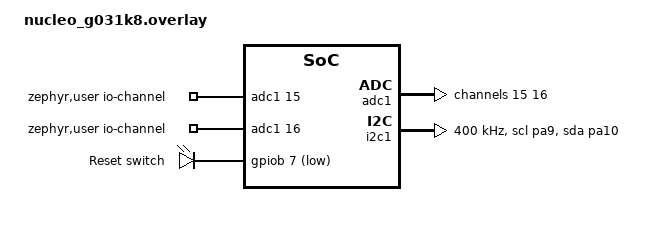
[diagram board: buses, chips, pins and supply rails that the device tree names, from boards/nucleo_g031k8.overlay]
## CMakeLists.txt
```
# SPDX-License-Identifier: Apache-2.0

cmake_minimum_required(VERSION 3.20.0)

find_package(Zephyr REQUIRED HINTS $ENV{ZEPHYR_BASE})
project(i2c_custom_target)

set (APP_SOURCES
   src/adc/adc.c
   src/gpio/gpio.c
   src/i2c_slave/i2c_slave.c
)

target_sources(app PRIVATE
   ${APP_SOURCES}
   src/main.c
)

target_include_directories(app PRIVATE
   src/adc/
   src/gpio/
   src/i2c_slave/
)
```

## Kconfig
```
#  Copyright (c) 2024 Muhammad Waleed Badar
#  SPDX-License-Identifier: Apache-2.0

mainmenu "I2C Slave Device"

menu "I2C Slave Device"

config I2C_SLAVE_ADDR
	int "Configure I2C slave address"
	default 8

config ADC_CH0_ADDR
	int "Configure ADC channel 0 address"
	default 0

config ADC_CH1_ADDR
	int "Configure ADC channel 1 address"
	default 1

config SWITCH_ADDR
	int "Configure I2C switch address"
	default 2

config BUTTON
	int "Configure numbers of button"
	default 1

config SWITCH
	int "Configure numbers of switch"
	default 1

endmenu

source "Kconfig.zephyr"
```

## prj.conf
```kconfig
# Peripherals
CONFIG_ADC=y
CONFIG_GPIO=y
CONFIG_I2C=y
CONFIG_I2C_TARGET=y

# Logging
CONFIG_LOG=y
```

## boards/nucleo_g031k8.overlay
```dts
/*
 * Copyright (c) 2024 Muhammad Waleed Badar
 *
 * SPDX-License-Identifier: Apache-2.0
 */

/ {
	zephyr,user {
		/* adjust channel number according to pinmux in board.dts */
		io-channels = <&adc1 15>, <&adc1 16>;
	};

	aliases {
		adc = &adc1;
		sw  = &sw0;
        i2c = &i2c2;
	};

	leds {
		compatible = "gpio-leds";
		sw0: rst_sw {
			gpios = <&gpiob 7 GPIO_ACTIVE_LOW>;
			label = "Reset switch";
		};
	};
};

&adc1 {
	#address-cells = <1>;
	#size-cells = <0>;
    st,adc-clock-source = <SYNC>;
	st,adc-prescaler = <2>;
	status = "okay";

	channel@15 {
		reg = <15>;
		zephyr,gain = "ADC_GAIN_1";
		zephyr,reference = "ADC_REF_INTERNAL";
		zephyr,acquisition-time = <ADC_ACQ_TIME_DEFAULT>;
		zephyr,resolution = <12>;
		// zephyr,input-positive = <15>;
	};

	channel@16 {
		reg = <16>;
		zephyr,gain = "ADC_GAIN_1";
		zephyr,reference = "ADC_REF_INTERNAL";
		zephyr,acquisition-time = <ADC_ACQ_TIME_DEFAULT>;
		zephyr,resolution = <12>;
		// zephyr,input-positive = <16>;
	};
};

&gpiob {
	status = "okay";
};

&i2c1 {
	pinctrl-0 = <&i2c1_scl_pa9 &i2c1_sda_pa10>;
	pinctrl-names = "default";
	clock-frequency = <I2C_BITRATE_FAST>;
	status = "okay";
};
```

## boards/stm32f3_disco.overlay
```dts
/*
 * Copyright (c) 2024 Muhammad Waleed Badar
 *
 * SPDX-License-Identifier: Apache-2.0
 */

/ {
	zephyr,user {
		/* adjust channel number according to pinmux in board.dts */
		io-channels = <&adc1 1>, <&adc1 2>;
	};

	aliases {
		adc = &adc1;
		sw  = &sw0;
        i2c = &i2c2;
	};

	leds {
		compatible = "gpio-leds";
		sw0: rst_sw {
			gpios = <&gpioc 9 GPIO_ACTIVE_LOW>;
			label = "Reset switch";
		};
	};
};

&adc1 {
	#address-cells = <1>;
	#size-cells = <0>;

	channel@1 {
		reg = <1>;
		zephyr,gain = "ADC_GAIN_1";
		zephyr,reference = "ADC_REF_INTERNAL";
		zephyr,acquisition-time = <ADC_ACQ_TIME_DEFAULT>;
		zephyr,resolution = <12>;
		zephyr,input-positive = <0>;
	};

	channel@2 {
		reg = <2>;
		zephyr,gain = "ADC_GAIN_1";
		zephyr,reference = "ADC_REF_INTERNAL";
		zephyr,acquisition-time = <ADC_ACQ_TIME_DEFAULT>;
		zephyr,resolution = <12>;
		zephyr,input-positive = <1>;
	};
};

&gpioc {
	status = "okay";
};

&i2c2 {
	status = "okay";
};
```

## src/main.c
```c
/*
 * Copyright (c) 2024 Muhammad Waleed Badar
 *
 * SPDX-License-Identifier: Apache-2.0
 */

#include "adc/adc.h"
#include "gpio/gpio.h"
#include "i2c_slave/i2c_slave.h"
#include <zephyr/logging/log.h>

LOG_MODULE_REGISTER(main_app, LOG_LEVEL_DBG);

int main(void)
{
	if (init_adc()){
		LOG_ERR("Failed to initialize ADC");
		return -1;
	}

	if (pin_mode(&leds[0], GPIO_OUTPUT)){
		LOG_ERR("Failed to setup pin mode");
		return -1;
	}

	if (init_i2c_slave()){
		LOG_ERR("Failed to initialize i2c_slave");
		return -1;
	}

	return 0;
}
```
